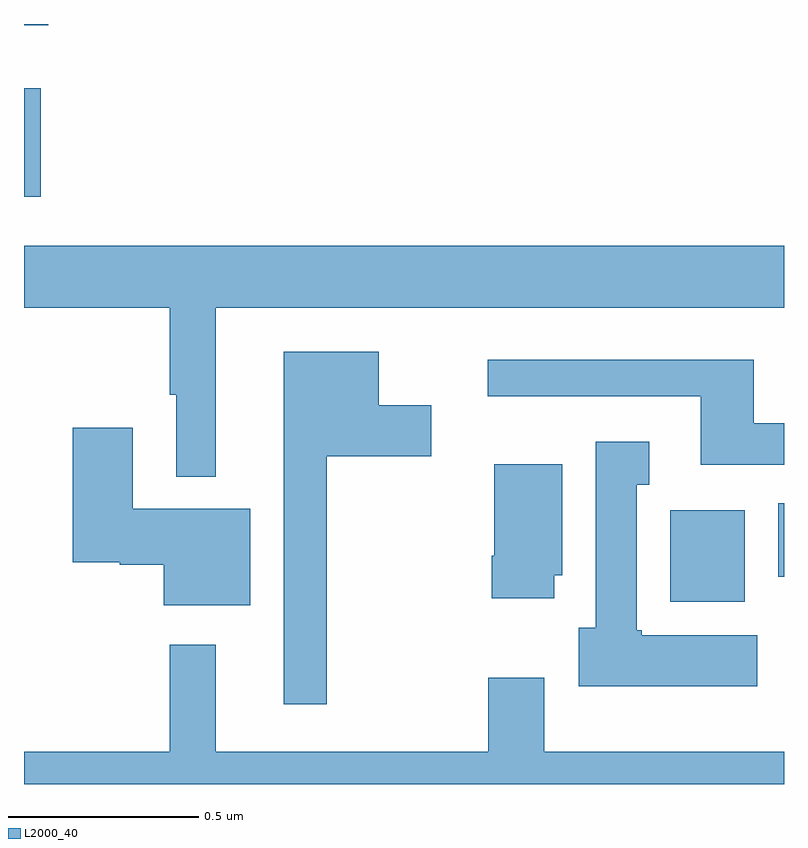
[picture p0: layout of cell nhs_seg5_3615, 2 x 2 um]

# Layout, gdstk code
import gdstk
lib = gdstk.Library(unit=1e-6, precision=1e-09)
def R(c, l, rs):  # rectangles x0, y0, x1, y1
    for r in rs: c.add(gdstk.rectangle(r[:2], r[2:], *l))
def P(c, l, *ps):  # polygons
    for p in ps: c.add(gdstk.Polygon(p, *l))
L2000_40 = (2000, 40)

nhs_seg5_3615 = lib.new_cell('nhs_seg5_3615')
R(nhs_seg5_3615, L2000_40, [(160.7,897.278,160.897,897.52), (160.985,897.344,161,897.538), (159,898.344,159.044,898.63), (159,898.796,159.064,898.799)])
P(nhs_seg5_3615, L2000_40, [(159.505,898.052),(161,898.052),(161,898.216),(159,898.216),(159,898.052),(159.384,898.052),(159.384,897.823),(159.401,897.823),(159.401,897.608),(159.505,897.608)],
  [(159.797,897.662),(160.072,897.662),(160.072,897.796),(159.934,897.796),(159.934,897.937),(159.683,897.937),(159.683,897.009),(159.797,897.009)],
  [(161,897.748),(160.921,897.748),(160.921,897.916),(160.221,897.916),(160.221,897.819),(160.781,897.819),(160.781,897.639),(161,897.639)],
  [(159.595,897.523),(159.286,897.523),(159.286,897.736),(159.128,897.736),(159.128,897.383),(159.252,897.383),(159.252,897.376),(159.368,897.376),(159.368,897.269),(159.595,897.269)],
  [(160.93,897.19),(160.626,897.19),(160.626,897.204),(160.612,897.204),(160.612,897.587),(160.645,897.587),(160.645,897.7),(160.505,897.7),(160.505,897.21),(160.46,897.21),(160.46,897.056),(160.93,897.056)],
  [(160.396,897.348),(160.417,897.348),(160.417,897.64),(160.238,897.64),(160.238,897.4),(160.231,897.4),(160.231,897.288),(160.396,897.288)],
  [(161,896.884),(160.369,896.884),(160.369,897.079),(160.222,897.079),(160.222,896.884),(159.505,896.884),(159.505,897.166),(159.384,897.166),(159.384,896.884),(159,896.884),(159,896.799),(161,896.799)])

lib.write_gds('nhs_seg5_3615.gds')
